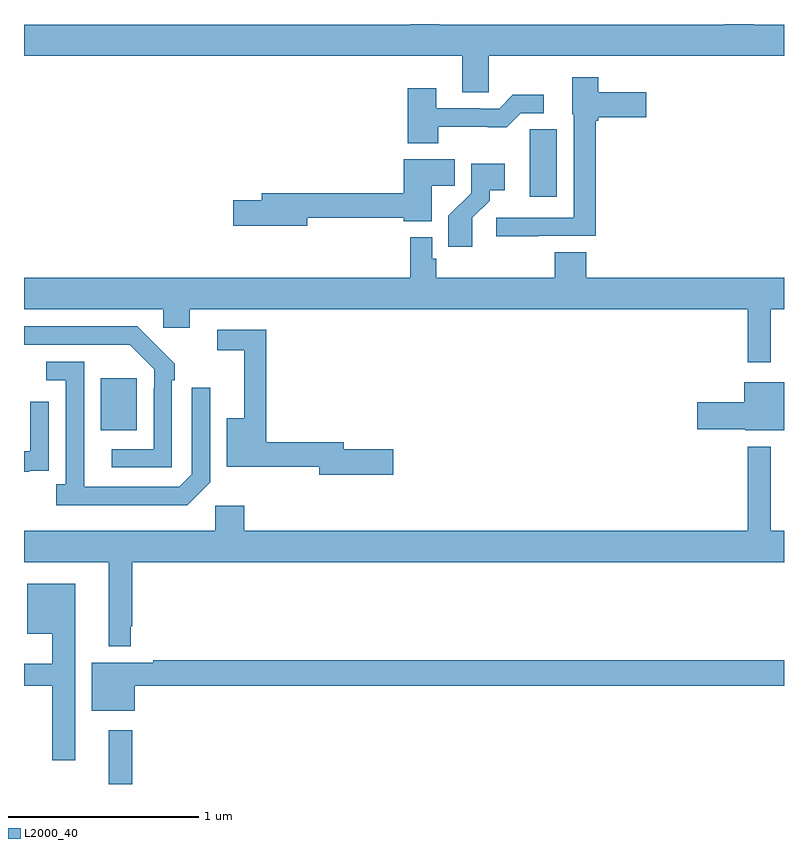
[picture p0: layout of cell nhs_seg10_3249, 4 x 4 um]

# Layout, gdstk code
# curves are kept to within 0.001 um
import gdstk
lib = gdstk.Library(unit=1e-6, precision=1e-09)
def R(c, l, rs):  # rectangles x0, y0, x1, y1
    for r in rs: c.add(gdstk.rectangle(r[:2], r[2:], *l))
def P(c, l, *ps):  # polygons
    for p in ps: c.add(gdstk.Polygon(p, *l))
L2000_40 = (2000, 40)

nhs_seg10_3249 = lib.new_cell('nhs_seg10_3249')
R(nhs_seg10_3249, L2000_40, [(287.447,1280.5,287.569,1280.782), (287.405,1282.361,287.593,1282.636)])
P(nhs_seg10_3249, L2000_40, [(289.446,1284.332),(291,1284.332),(291,1284.496),(290.84,1284.496),(290.84,1284.5),(290.688,1284.5),(290.688,1284.496),(289.186,1284.496),(289.186,1284.5),(289.034,1284.5),(289.034,1284.496),(287,1284.496),(287,1284.332),(289.307,1284.332),(289.307,1284.142),(289.446,1284.142)],
  [(289.709,1283.385),(290.009,1283.385),(290.009,1283.99),(290.022,1283.99),(290.022,1284.008),(290.275,1284.008),(290.275,1284.142),(290.022,1284.142),(290.022,1284.22),(289.886,1284.22),(289.886,1284.024),(289.893,1284.024),(289.893,1283.481),(289.485,1283.481),(289.485,1283.383),(289.709,1283.383)],
  [(289.179,1283.958),(289.541,1283.957),(289.614,1284.03),(289.735,1284.03),(289.735,1284.127),(289.573,1284.127),(289.5,1284.054),(289.4,1284.054),(289.4,1284.057),(289.171,1284.057),(289.171,1284.163),(289.019,1284.163),(289.019,1283.873),(289.179,1283.873)],
  [(289.804,1283.945),(289.662,1283.945),(289.662,1283.834),(289.661,1283.834),(289.661,1283.592),(289.804,1283.592)],
  [(288.49,1283.481),(288.998,1283.481),(288.998,1283.462),(289.147,1283.462),(289.147,1283.65),(289.268,1283.65),(289.268,1283.788),(288.998,1283.788),(288.998,1283.609),(288.251,1283.609),(288.251,1283.573),(288.102,1283.573),(288.102,1283.438),(288.49,1283.438)],
  [(289.36,1283.479),(289.45,1283.569),(289.45,1283.624),(289.531,1283.624),(289.531,1283.764),(289.353,1283.764),(289.353,1283.609),(289.234,1283.49),(289.234,1283.328),(289.36,1283.328)],
  [(290.929,1283),(291,1283),(291,1283.164),(289.958,1283.164),(289.958,1283.3),(289.793,1283.3),(289.793,1283.164),(289.169,1283.164),(289.169,1283.265),(289.149,1283.265),(289.149,1283.377),(289.033,1283.377),(289.033,1283.164),(287,1283.164),(287,1283),(287.733,1283),(287.733,1282.902),(287.872,1282.902),(287.872,1283),(290.808,1283),(290.808,1282.719),(290.929,1282.719)],
  [(287.778,1282.625),(287.793,1282.625),(287.793,1282.713),(287.596,1282.908),(287,1282.908),(287,1282.812),(287.557,1282.812),(287.685,1282.683),(287.685,1282.583),(287.682,1282.583),(287.682,1282.263),(287.463,1282.263),(287.463,1282.167),(287.778,1282.167)],
  [(288.943,1282.262),(288.682,1282.262),(288.682,1282.298),(288.275,1282.298),(288.275,1282.89),(288.018,1282.89),(288.018,1282.782),(288.158,1282.782),(288.158,1282.426),(288.068,1282.426),(288.068,1282.17),(288.554,1282.17),(288.554,1282.127),(288.943,1282.127)],
  [(287.979,1282.089),(287.979,1282.585),(287.883,1282.585),(287.883,1282.131),(287.817,1282.065),(287.317,1282.065),(287.316,1282.722),(287.118,1282.722),(287.118,1282.626),(287.22,1282.626),(287.22,1282.078),(287.169,1282.078),(287.169,1281.968),(287.858,1281.968)],
  [(291,1282.615),(290.792,1282.615),(290.792,1282.509),(290.544,1282.509),(290.544,1282.367),(290.796,1282.367),(290.796,1282.361),(291,1282.361)],
  [(287.027,1282.149),(287.129,1282.149),(287.129,1282.258),(287.13,1282.258),(287.13,1282.513),(287.034,1282.513),(287.034,1282.251),(287,1282.251),(287,1282.143),(287.027,1282.143)],
  [(287,1281.668),(287.447,1281.668),(287.447,1281.224),(287.562,1281.224),(287.562,1281.331),(287.569,1281.331),(287.569,1281.668),(291,1281.668),(291,1281.832),(290.929,1281.832),(290.929,1282.276),(290.808,1282.276),(290.808,1281.832),(288.158,1281.832),(288.158,1281.964),(288.006,1281.964),(288.006,1281.832),(287,1281.832)],
  [(287.269,1281.553),(287.018,1281.553),(287.018,1281.29),(287.148,1281.29),(287.148,1281.133),(287,1281.133),(287,1281.016),(287.148,1281.016),(287.148,1280.625),(287.269,1280.625)],
  [(287.584,1281.016),(291,1281.016),(291,1281.152),(287.68,1281.152),(287.68,1281.139),(287.357,1281.139),(287.357,1280.885),(287.584,1280.885)])

lib.write_gds('nhs_seg10_3249.gds')
